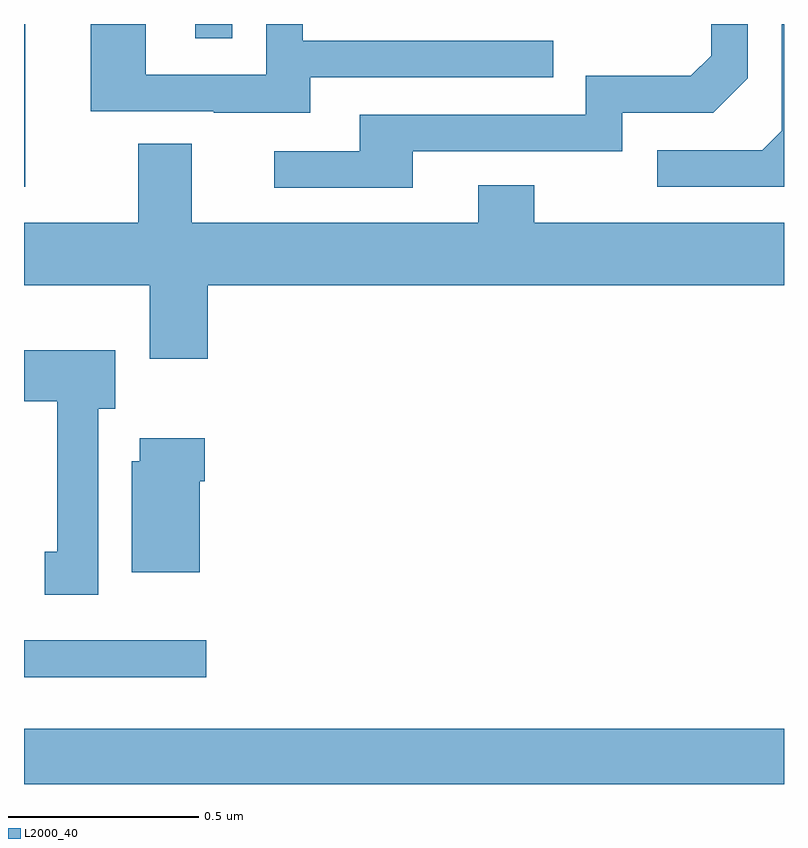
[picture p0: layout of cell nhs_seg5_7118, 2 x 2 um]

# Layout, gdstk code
import gdstk
lib = gdstk.Library(unit=1e-6, precision=1e-09)
def R(c, l, rs):  # rectangles x0, y0, x1, y1
    for r in rs: c.add(gdstk.rectangle(r[:2], r[2:], *l))
def P(c, l, *ps):  # polygons
    for p in ps: c.add(gdstk.Polygon(p, *l))
L2000_40 = (2000, 40)

nhs_seg5_7118 = lib.new_cell('nhs_seg5_7118')
R(nhs_seg5_7118, L2000_40, [(205,836.799,207,836.944), (205,837.08,205.48,837.177), (205,838.371,205.003,838.799), (205.451,838.761,205.548,838.799)])
P(nhs_seg5_7118, L2000_40, [(207,838.799),(206.994,838.799),(206.994,838.518),(206.943,838.467),(206.667,838.467),(206.667,838.371),(207,838.371)],
  [(206.023,838.464),(206.574,838.464),(206.574,838.566),(206.814,838.566),(206.904,838.656),(206.904,838.799),(206.808,838.799),(206.808,838.716),(206.755,838.663),(206.478,838.663),(206.478,838.56),(205.883,838.56),(205.883,838.464),(205.659,838.464),(205.659,838.368),(206.023,838.368)],
  [(205.753,838.659),(206.393,838.659),(206.393,838.755),(205.734,838.755),(205.734,838.799),(205.638,838.799),(205.638,838.665),(205.32,838.665),(205.32,838.799),(205.175,838.799),(205.175,838.569),(205.499,838.569),(205.499,838.565),(205.753,838.565)],
  [(205.484,838.112),(207,838.112),(207,838.276),(206.343,838.276),(206.343,838.375),(206.195,838.375),(206.195,838.276),(205.441,838.276),(205.441,838.484),(205.301,838.484),(205.301,838.276),(205,838.276),(205,838.112),(205.331,838.112),(205.331,837.918),(205.484,837.918)],
  [(205.195,837.786),(205.24,837.786),(205.24,837.94),(205,837.94),(205,837.806),(205.088,837.806),(205.088,837.41),(205.055,837.41),(205.055,837.297),(205.195,837.297)],
  [(205.462,837.596),(205.475,837.596),(205.475,837.709),(205.304,837.709),(205.304,837.648),(205.283,837.648),(205.283,837.356),(205.462,837.356)])

lib.write_gds('nhs_seg5_7118.gds')
